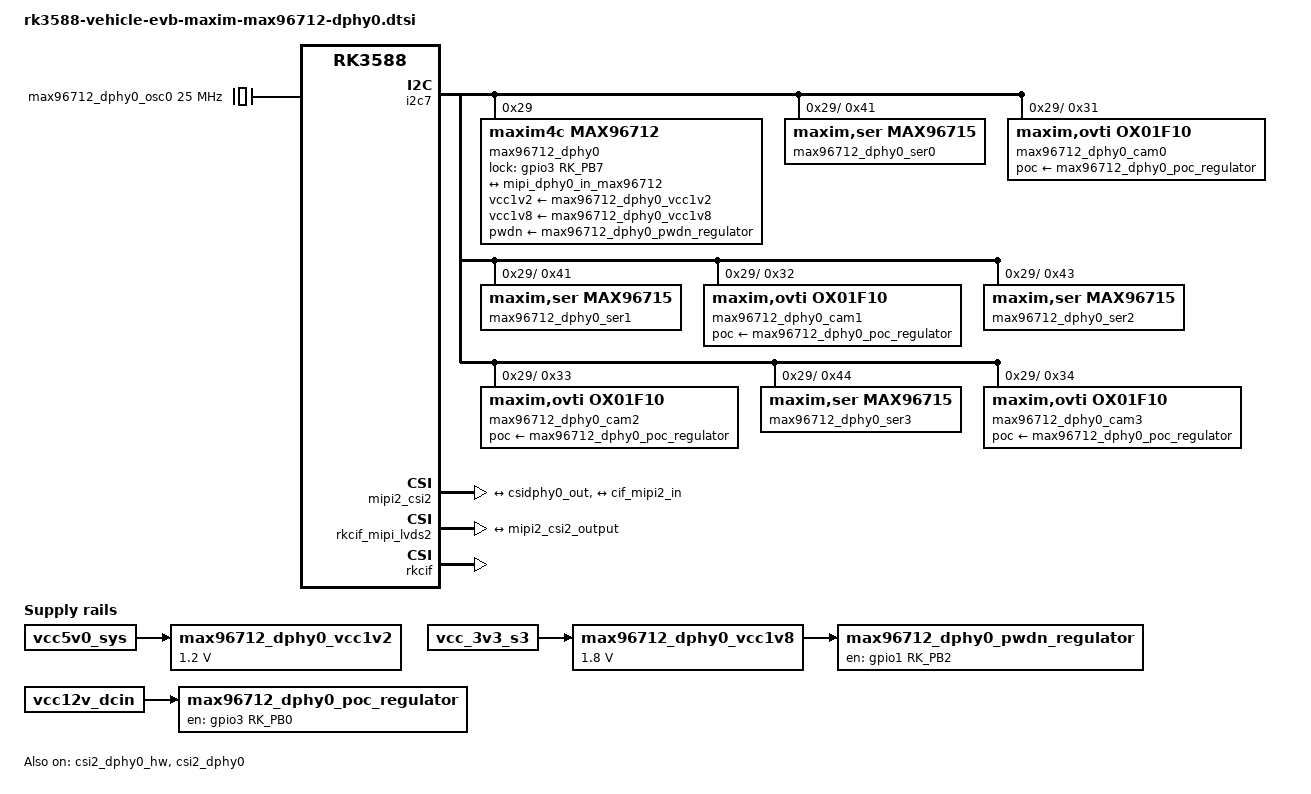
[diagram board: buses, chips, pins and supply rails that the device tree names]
// SPDX-License-Identifier: (GPL-2.0+ OR MIT)
/*
 * Copyright (c) 2023 Rockchip Electronics Co., Ltd.
 *
 */
#include <dt-bindings/display/media-bus-format.h>

/ {
	max96712_dphy0_osc0: max96712-dphy0-oscillator@0 {
		compatible = "fixed-clock";
		#clock-cells = <1>;
		clock-frequency = <25000000>;
		clock-output-names = "max96712-dphy0-osc0";
	};

	max96712_dphy0_vcc1v2: max96712-dphy0-vcc1v2 {
		compatible = "regulator-fixed";
		regulator-name = "max96712_dphy0_vcc1v2";
		regulator-boot-on;
		regulator-always-on;
		regulator-min-microvolt = <1200000>;
		regulator-max-microvolt = <1200000>;
		startup-delay-us = <850>;
		vin-supply = <&vcc5v0_sys>;
	};

	max96712_dphy0_vcc1v8: max96712-dphy0-vcc1v8 {
		compatible = "regulator-fixed";
		regulator-name = "max96712_dphy0_vcc1v8";
		regulator-boot-on;
		regulator-always-on;
		regulator-min-microvolt = <1800000>;
		regulator-max-microvolt = <1800000>;
		startup-delay-us = <200>;
		vin-supply = <&vcc_3v3_s3>;
	};

	max96712_dphy0_pwdn_regulator: max96712-dphy0-pwdn-regulator {
		compatible = "regulator-fixed";
		regulator-name = "max96712_dphy0_pwdn";
		gpio = <&gpio1 RK_PB2 GPIO_ACTIVE_HIGH>;
		pinctrl-names = "default";
		pinctrl-0 = <&max96712_dphy0_pwdn>;
		enable-active-high;
		startup-delay-us = <10000>;
		off-on-delay-us = <5000>;
		vin-supply = <&max96712_dphy0_vcc1v8>;
	};

	max96712_dphy0_poc_regulator: max96712-dphy0-poc-regulator {
		compatible = "regulator-fixed";
		regulator-name = "max96712_dphy0_poc";
		gpio = <&gpio3 RK_PB0 GPIO_ACTIVE_HIGH>;
		enable-active-high;
		startup-delay-us = <10000>;
		off-on-delay-us = <5000>;
		vin-supply = <&vcc12v_dcin>;
	};
};

&csi2_dphy0_hw {
	status = "okay";
};

&csi2_dphy0 {
	status = "okay";

	ports {
		#address-cells = <1>;
		#size-cells = <0>;
		port@0 {
			reg = <0>;
			#address-cells = <1>;
			#size-cells = <0>;

			mipi_dphy0_in_max96712: endpoint@1 {
				reg = <1>;
				remote-endpoint = <&max96712_dphy0_out>;
				data-lanes = <1 2 3 4>;
			};
		};
		port@1 {
			reg = <1>;
			#address-cells = <1>;
			#size-cells = <0>;

			csidphy0_out: endpoint@0 {
				reg = <0>;
				remote-endpoint = <&mipi2_csi2_input>;
			};
		};
	};
};

&i2c7 {
	status = "okay";
	pinctrl-names = "default";
	pinctrl-0 = <&i2c7m3_xfer>;

	max96712_dphy0: max96712@29 {
		compatible = "maxim4c,max96712";
		status = "okay";
		reg = <0x29>;
		clock-names = "xvclk";
		clocks = <&max96712_dphy0_osc0 0>;
		pinctrl-names = "default";
		pinctrl-0 = <&max96712_dphy0_errb>, <&max96712_dphy0_lock>;
		power-domains = <&power RK3588_PD_VI>;
		rockchip,grf = <&sys_grf>;
		vcc1v2-supply = <&max96712_dphy0_vcc1v2>;
		vcc1v8-supply = <&max96712_dphy0_vcc1v8>;
		pwdn-supply = <&max96712_dphy0_pwdn_regulator>;
		lock-gpios = <&gpio3 RK_PB7 GPIO_ACTIVE_HIGH>;

		rockchip,camera-module-index = <0>;
		rockchip,camera-module-facing = "back";
		rockchip,camera-module-name = "default";
		rockchip,camera-module-lens-name = "default";

		port {
			max96712_dphy0_out: endpoint {
				remote-endpoint = <&mipi_dphy0_in_max96712>;
				data-lanes = <1 2 3 4>;
			};
		};

		/* support mode config start */
		support-mode-config {
			status = "okay";

			bus-format = <MEDIA_BUS_FMT_UYVY8_2X8>;
			sensor-width = <1280>;
			sensor-height = <800>;
			max-fps-numerator = <10000>;
			max-fps-denominator = <300000>;
			bpp = <16>;
			link-freq-idx = <20>;
		};
		/* support mode config end */

		/* serdes local device start */
		serdes-local-device {
			status = "okay";

			/* GMSL LINK config start */
			gmsl-links {
				status = "okay";

				link-vdd-ldo1-en = <1>;
				link-vdd-ldo2-en = <1>;

				// Link A: link-id = 0
				gmsl-link-config-0 {
					status = "okay";
					link-id = <0>; // Link ID: 0/1/2/3

					link-type = <0>;
					link-rx-rate = <0>;
					link-tx-rate = <0>;

					link-remote-cam = <&max96712_dphy0_cam0>; // remote camera

					link-init-sequence {
						seq-item-size = <5>; // reg-addr-len + reg-val-len * 2 + 1
						reg-addr-len = <2>; // 1: 8bits, 2: 16bits
						reg-val-len = <1>; // 1: 8bits, 2: 16bits, 3: 24bits

						// reg_addr reg_val val_mask delay
						init-sequence = [
							14 D1 03 00 00 // VGAHiGain
							14 45 00 00 00 // Disable SSC
							0B 06 ef 00 00 // HIM on
							0B 07 84 00 00 // Enable HVEN and DBL
							0B 0F 01 00 00 // Disable processing DE signals
						];
					};
				};

				// Link B: link-id = 1
				gmsl-link-config-1 {
					status = "okay";
					link-id = <1>; // Link ID: 0/1/2/3

					link-type = <0>;
					link-rx-rate = <0>;
					link-tx-rate = <0>;

					link-remote-cam = <&max96712_dphy0_cam1>; // remote camera

					link-init-sequence {
						seq-item-size = <5>; // reg-addr-len + reg-val-len * 2 + 1
						reg-addr-len = <2>; // 1: 8bits, 2: 16bits
						reg-val-len = <1>; // 1: 8bits, 2: 16bits, 3: 24bits

						// reg_addr reg_val val_mask delay
						init-sequence = [
							15 D1 03 00 00 // VGAHiGain
							15 45 00 00 00 // Disable SSC
							0C 06 ef 00 00 // HIM on
							0C 07 84 00 00 // Enable HVEN and DBL
							0C 0F 01 00 00 // Disable processing DE signals
						];
					};
				};

				// Link C: link-id = 2
				gmsl-link-config-2 {
					status = "okay";
					link-id = <2>; // Link ID: 0/1/2/3

					link-type = <0>;
					link-rx-rate = <0>;
					link-tx-rate = <0>;

					link-remote-cam = <&max96712_dphy0_cam2>; // remote camera

					link-init-sequence {
						seq-item-size = <5>; // reg-addr-len + reg-val-len * 2 + 1
						reg-addr-len = <2>; // 1: 8bits, 2: 16bits
						reg-val-len = <1>; // 1: 8bits, 2: 16bits, 3: 24bits

						// reg_addr reg_val val_mask delay
						init-sequence = [
							16 D1 03 00 00 // VGAHiGain
							16 45 00 00 00 // Disable SSC
							0D 06 ef 00 00 // HIM on
							0D 07 84 00 00 // Enable HVEN and DBL
							0D 0F 01 00 00 // Disable processing DE signals
						];
					};
				};

				// Link D: link-id = 3
				gmsl-link-config-3 {
					status = "okay";
					link-id = <3>; // Link ID: 0/1/2/3

					link-type = <0>;
					link-rx-rate = <0>;
					link-tx-rate = <0>;

					link-remote-cam = <&max96712_dphy0_cam3>; // remote camera

					link-init-sequence {
						seq-item-size = <5>; // reg-addr-len + reg-val-len * 2 + 1
						reg-addr-len = <2>; // 1: 8bits, 2: 16bits
						reg-val-len = <1>; // 1: 8bits, 2: 16bits, 3: 24bits

						// reg_addr reg_val val_mask delay
						init-sequence = [
							17 D1 03 00 00 // VGAHiGain
							17 45 00 00 00 // Disable SSC
							0E 06 ef 00 00 // HIM on
							0E 07 84 00 00 // Enable HVEN and DBL
							0E 0F 01 00 00 // Disable processing DE signals
						];
					};
				};
			};
			/* GMSL LINK config end */

			/* VIDEO PIPE config start */
			video-pipes {
				status = "okay";

				// Video Pipe 0
				video-pipe-config-0 {
					status = "okay";
					pipe-id = <0>; // Video Pipe ID: 0/1/2/3/4/5/6/7

					pipe-idx = <0>; // Video Pipe X/Y/Z/U: 0/1/2/3
					link-idx = <0>; // Link A/B/C/D: 0/1/2/3

					pipe-init-sequence {
						seq-item-size = <5>; // reg-addr-len + reg-val-len * 2 + 1
						reg-addr-len = <2>; // 1: 8bits, 2: 16bits
						reg-val-len = <1>; // 1: 8bits, 2: 16bits, 3: 24bits

						// reg_addr reg_val val_mask delay
						init-sequence = [
							// Send YUV422, FS, and FE from Video Pipe 0 to Controller 1
							09 0B 07 00 00 // Enable 0/1/2 SRC/DST Mappings
							09 2D 15 00 00 // SRC/DST 0/1/2 -> CSI2 Controller 1;
							// For the following MSB 2 bits = VC, LSB 6 bits = DT
							09 0D 1e 00 00 // SRC0 VC = 0, DT = YUV422 8bit
							09 0E 1e 00 00 // DST0 VC = 0, DT = YUV422 8bit
							09 0F 00 00 00 // SRC1 VC = 0, DT = Frame Start
							09 10 00 00 00 // DST1 VC = 0, DT = Frame Start
							09 11 01 00 00 // SRC2 VC = 0, DT = Frame End
							09 12 01 00 00 // DST2 VC = 0, DT = Frame End
						];
					};
				};

				// Video Pipe 1
				video-pipe-config-1 {
					status = "okay";
					pipe-id = <1>; // Video Pipe 1: pipe-id = 1

					pipe-idx = <0>; // Video Pipe X/Y/Z/U: 0/1/2/3
					link-idx = <1>; // Link A/B/C/D: 0/1/2/3

					pipe-init-sequence {
						seq-item-size = <5>; // reg-addr-len + reg-val-len * 2 + 1
						reg-addr-len = <2>; // 1: 8bits, 2: 16bits
						reg-val-len = <1>; // 1: 8bits, 2: 16bits, 3: 24bits

						// reg_addr reg_val val_mask delay
						init-sequence = [
							// Send YUV422, FS, and FE from Video Pipe 1 to Controller 1
							09 4B 07 00 00 // Enable 0/1/2 SRC/DST Mappings
							09 6D 15 00 00 // SRC/DST 0/1/2 -> CSI2 Controller 1;
							// For the following MSB 2 bits = VC, LSB 6 bits = DT
							09 4D 1e 00 00 // SRC0 VC = 0, DT = YUV422 8bit
							09 4E 5e 00 00 // DST0 VC = 1, DT = YUV422 8bit
							09 4F 00 00 00 // SRC1 VC = 0, DT = Frame Start
							09 50 40 00 00 // DST1 VC = 1, DT = Frame Start
							09 51 01 00 00 // SRC2 VC = 0, DT = Frame End
							09 52 41 00 00 // DST2 VC = 1, DT = Frame End
						];
					};
				};

				// Video Pipe 2
				video-pipe-config-2 {
					status = "okay";
					pipe-id = <2>; // Video Pipe ID: 0/1/2/3/4/5/6/7

					pipe-idx = <0>; // Video Pipe X/Y/Z/U: 0/1/2/3
					link-idx = <2>; // Link A/B/C/D: 0/1/2/3

					pipe-init-sequence {
						seq-item-size = <5>; // reg-addr-len + reg-val-len * 2 + 1
						reg-addr-len = <2>; // 1: 8bits, 2: 16bits
						reg-val-len = <1>; // 1: 8bits, 2: 16bits, 3: 24bits

						// reg_addr reg_val val_mask delay
						init-sequence = [
							// Send YUV422, FS, and FE from Video Pipe 2 to Controller 1
							09 8B 07 00 00 // Enable 0/1/2 SRC/DST Mappings
							09 AD 15 00 00 // SRC/DST 0/1/2 -> CSI2 Controller 1;
							// For the following MSB 2 bits = VC, LSB 6 bits = DT
							09 8D 1e 00 00 // SRC0 VC = 0, DT = YUV422 8bit
							09 8E 9e 00 00 // DST0 VC = 2, DT = YUV422 8bit
							09 8F 00 00 00 // SRC1 VC = 0, DT = Frame Start
							09 90 80 00 00 // DST1 VC = 2, DT = Frame Start
							09 91 01 00 00 // SRC2 VC = 0, DT = Frame End
							09 92 81 00 00 // DST2 VC = 2, DT = Frame End
						];
					};
				};

				// Video Pipe 3
				video-pipe-config-3 {
					status = "okay";
					pipe-id = <3>; // Video Pipe ID: 0/1/2/3/4/5/6/7

					pipe-idx = <0>; // Video Pipe X/Y/Z/U: 0/1/2/3
					link-idx = <3>; // Link A/B/C/D: 0/1/2/3

					pipe-init-sequence {
						seq-item-size = <5>; // reg-addr-len + reg-val-len * 2 + 1
						reg-addr-len = <2>; // 1: 8bits, 2: 16bits
						reg-val-len = <1>; // 1: 8bits, 2: 16bits, 3: 24bits

						// reg_addr reg_val val_mask delay
						init-sequence = [
							// Send YUV422, FS, and FE from Video Pipe 3 to Controller 1
							09 CB 07 00 00 // Enable 0/1/2 SRC/DST Mappings
							09 ED 15 00 00 // SRC/DST 0/1/2 -> CSI2 Controller 1;
							// For the following MSB 2 bits = VC, LSB 6 bits = DT
							09 CD 1e 00 00 // SRC0 VC = 0, DT = YUV422 8bit
							09 CE de 00 00 // DST0 VC = 3, DT = YUV422 8bit
							09 CF 00 00 00 // SRC1 VC = 0, DT = Frame Start
							09 D0 c0 00 00 // DST1 VC = 3, DT = Frame Start
							09 D1 01 00 00 // SRC2 VC = 0, DT = Frame End
							09 D2 c1 00 00 // DST2 VC = 3, DT = Frame End
						];
					};
				};

				// Software override for parallel mode
				parallel-mode-config {
					status = "okay";

					parallel-init-sequence {
						seq-item-size = <5>; // reg-addr-len + reg-val-len * 2 + 1
						reg-addr-len = <2>; // 1: 8bits, 2: 16bits
						reg-val-len = <1>; // 1: 8bits, 2: 16bits, 3: 24bits

						// reg_addr reg_val val_mask delay
						init-sequence = [
							// Enable software override for all pipes since GMSL1 data is parallel mode, bpp=8, dt=0x1e(yuv-8)
							04 1A f0 00 00 // pipe 0/1/2/3: Enable YUV8-/10-bit mux mode
							04 0B 40 00 00 // pipe 0 bpp=0x08: Datatypes = 0x2A, 0x10-12, 0x31-37
							04 0C 00 00 00 // pipe 0 and 1 VC software override: 0x00
							04 0D 00 00 00 // pipe 2 and 3 VC software override: 0x00
							04 0E 5e 00 00 // pipe 0 DT=0x1E: YUV422 8-bit
							04 0F 7e 00 00 // pipe 1 DT=0x1E: YUV422 8-bit
							04 10 7a 00 00 // pipe 2 DT=0x1E, pipe 3 DT=0x1E: YUV422 8-bit
							04 11 48 00 00 // pipe 1 bpp=0x08: Datatypes = 0x2A, 0x10-12, 0x31-37
							04 12 20 00 00 // pipe 2 bpp=0x08, pipe 3 bpp=0x08: Datatypes = 0x2A, 0x10-12, 0x31-37
							04 15 c0 c0 00 // pipe 0/1 enable software overide
							04 18 c0 c0 00 // pipe 2/3 enable software overide
						];
					};
				};
			};
			/* VIDEO PIPE config end */

			/* MIPI TXPHY config start */
			mipi-txphys {
				status = "okay";

				phy-mode = <0>;
				phy-force-clock-out = <1>;
				phy-force-clk0-en = <1>;
				phy-force-clk3-en = <0>;

				// MIPI TXPHY A: phy-id = 0
				mipi-txphy-config-0 {
					status = "okay";
					phy-id = <0>; // MIPI TXPHY ID: 0/1/2/3

					phy-type = <0>;
					auto-deskew = <0x80>;
					data-lane-num = <4>;
					data-lane-map = <0x4>;
					vc-ext-en = <0>;
				};

				// MIPI TXPHY B: phy-id = 1
				mipi-txphy-config-1 {
					status = "okay";
					phy-id = <1>; // MIPI TXPHY ID: 0/1/2/3

					phy-type = <0>;
					auto-deskew = <0x80>;
					data-lane-num = <4>;
					data-lane-map = <0xe>;
					vc-ext-en = <0>;
				};
			};
			/* MIPI TXPHY config end */

			/* local device extra init sequence */
			extra-init-sequence {
				status = "disabled";

				seq-item-size = <5>; // reg-addr-len + reg-val-len * 2 + 1
				reg-addr-len = <2>; // 1: 8bits, 2: 16bits
				reg-val-len = <1>; // 1: 8bits, 2: 16bits, 3: 24bits

				// reg_addr reg_val val_mask delay
				init-sequence = [
					// common init sequence such as fsync / gpio and so on
				];
			};
		};
		/* serdes local device end */

		/* i2c-mux start */
		i2c-mux {
			#address-cells = <1>;
			#size-cells = <0>;

			i2c@0 {
				#address-cells = <1>;
				#size-cells = <0>;
				reg = <0>;

				// Note: Serializer node defined before camera node
				max96712_dphy0_ser0: max96715@41 {
					compatible = "maxim,ser,max96715";
					reg = <0x41>;

					ser-i2c-addr-def = <0x40>;

					ser-init-sequence {
						seq-item-size = <4>; // reg-addr-len + reg-val-len * 2 + 1
						reg-addr-len = <1>; // 1: 8bits, 2: 16bits
						reg-val-len = <1>; // 1: 8bits, 2: 16bits, 3: 24bits

						// reg_addr reg_val val_mask delay
						init-sequence = [
							07 84 00 00
							67 c4 00 00
							0F bf 00 00
							3F 08 00 00
							40 2d 00 00
							20 10 00 00
							21 11 00 00
							22 12 00 00
							23 13 00 00
							24 14 00 00
							25 15 00 00
							26 16 00 00
							27 17 00 00
							30 00 00 00
							31 01 00 00
							32 02 00 00
							33 03 00 00
							34 04 00 00
							35 05 00 00
							36 06 00 00
							37 07 00 00
						];
					};
				};

				max96712_dphy0_cam0: ox01f10@31 {
					compatible = "maxim,ovti,ox01f10";
					reg = <0x31>;

					cam-i2c-addr-def = <0x36>;

					cam-remote-ser = <&max96712_dphy0_ser0>; // remote serializer

					poc-supply = <&max96712_dphy0_poc_regulator>;

					rockchip,camera-module-index = <0>;
					rockchip,camera-module-facing = "back";
					rockchip,camera-module-name = "default";
					rockchip,camera-module-lens-name = "default";

					/* port config start */
					port {
						max96712_dphy0_cam0_out: endpoint {
							/* remote endpoint: rkcif_mipi_lvds_sditf */
							//remote-endpoint = <&mipi_lvds_sditf_in>;
							data-lanes = <1 2 3 4>;
						};
					};
					/* port config end */
				};
			};

			i2c@1 {
				#address-cells = <1>;
				#size-cells = <0>;
				reg = <1>;

				// Note: Serializer node defined before camera node
				max96712_dphy0_ser1: max96715@41 {
					compatible = "maxim,ser,max96715";
					reg = <0x41>;

					ser-i2c-addr-def = <0x40>;

					ser-init-sequence {
						seq-item-size = <4>; // reg-addr-len + reg-val-len * 2 + 1
						reg-addr-len = <1>; // 1: 8bits, 2: 16bits
						reg-val-len = <1>; // 1: 8bits, 2: 16bits, 3: 24bits

						// reg_addr reg_val val_mask delay
						init-sequence = [
							07 84 00 00
							67 c4 00 00
							0F bf 00 00
							3F 08 00 00
							40 2d 00 00
							20 10 00 00
							21 11 00 00
							22 12 00 00
							23 13 00 00
							24 14 00 00
							25 15 00 00
							26 16 00 00
							27 17 00 00
							30 00 00 00
							31 01 00 00
							32 02 00 00
							33 03 00 00
							34 04 00 00
							35 05 00 00
							36 06 00 00
							37 07 00 00
						];
					};
				};

				max96712_dphy0_cam1: ox01f10@32 {
					compatible = "maxim,ovti,ox01f10";
					reg = <0x32>;

					cam-i2c-addr-def = <0x36>;

					cam-remote-ser = <&max96712_dphy0_ser1>; // remote serializer

					poc-supply = <&max96712_dphy0_poc_regulator>;

					rockchip,camera-module-index = <0>;
					rockchip,camera-module-facing = "back";
					rockchip,camera-module-name = "default";
					rockchip,camera-module-lens-name = "default";

					/* port config start */
					port {
						max96712_dphy0_cam1_out: endpoint {
							/* remote endpoint: rkcif_mipi_lvds_sditf_vir1 */
							//remote-endpoint = <&mipi_lvds_sditf_vir1_in>;
							data-lanes = <1 2 3 4>;
						};
					};
					/* port config end */
				};
			};

			i2c@2 {
				#address-cells = <1>;
				#size-cells = <0>;
				reg = <2>;

				// Note: Serializer node defined before camera node
				max96712_dphy0_ser2: max96715@43 {
					compatible = "maxim,ser,max96715";
					reg = <0x43>;

					ser-i2c-addr-def = <0x40>;

					ser-init-sequence {
						seq-item-size = <4>; // reg-addr-len + reg-val-len * 2 + 1
						reg-addr-len = <1>; // 1: 8bits, 2: 16bits
						reg-val-len = <1>; // 1: 8bits, 2: 16bits, 3: 24bits

						// reg_addr reg_val val_mask delay
						init-sequence = [
							07 84 00 00
							67 c4 00 00
							0F bf 00 00
							3F 08 00 00
							40 2d 00 00
							20 10 00 00
							21 11 00 00
							22 12 00 00
							23 13 00 00
							24 14 00 00
							25 15 00 00
							26 16 00 00
							27 17 00 00
							30 00 00 00
							31 01 00 00
							32 02 00 00
							33 03 00 00
							34 04 00 00
							35 05 00 00
							36 06 00 00
							37 07 00 00
						];
					};
				};

				max96712_dphy0_cam2: ox01f10@33 {
					compatible = "maxim,ovti,ox01f10";
					reg = <0x33>;

					cam-i2c-addr-def = <0x36>;

					cam-remote-ser = <&max96712_dphy0_ser2>; // remote serializer

					poc-supply = <&max96712_dphy0_poc_regulator>;

					rockchip,camera-module-index = <2>;
					rockchip,camera-module-facing = "back";
					rockchip,camera-module-name = "default";
					rockchip,camera-module-lens-name = "default";

					/* port config start */
					port {
						max96712_dphy0_cam2_out: endpoint {
							/* remote endpoint: rkcif_mipi_lvds_sditf_vir2 */
							//remote-endpoint = <&mipi_lvds_sditf_vir2_in>;
							data-lanes = <1 2 3 4>;
						};
					};
					/* port config end */
				};
			};

			i2c@3 {
				#address-cells = <1>;
				#size-cells = <0>;
				reg = <3>;

				// Note: Serializer node defined before camera node
				max96712_dphy0_ser3: max96715@44 {
					compatible = "maxim,ser,max96715";
					reg = <0x44>;

					ser-i2c-addr-def = <0x40>;

					ser-init-sequence {
						seq-item-size = <4>; // reg-addr-len + reg-val-len * 2 + 1
						reg-addr-len = <1>; // 1: 8bits, 2: 16bits
						reg-val-len = <1>; // 1: 8bits, 2: 16bits, 3: 24bits

						// reg_addr reg_val val_mask delay
						init-sequence = [
							07 84 00 00
							67 c4 00 00
							0F bf 00 00
							3F 08 00 00
							40 2d 00 00
							20 10 00 00
							21 11 00 00
							22 12 00 00
							23 13 00 00
							24 14 00 00
							25 15 00 00
							26 16 00 00
							27 17 00 00
							30 00 00 00
							31 01 00 00
							32 02 00 00
							33 03 00 00
							34 04 00 00
							35 05 00 00
							36 06 00 00
							37 07 00 00
						];
					};
				};

				max96712_dphy0_cam3: ox01f10@34 {
					compatible = "maxim,ovti,ox01f10";
					reg = <0x34>;

					cam-i2c-addr-def = <0x36>;

					cam-remote-ser = <&max96712_dphy0_ser3>; // remote serializer

					poc-supply = <&max96712_dphy0_poc_regulator>;

					rockchip,camera-module-index = <3>;
					rockchip,camera-module-facing = "back";
					rockchip,camera-module-name = "default";
					rockchip,camera-module-lens-name = "default";

					/* port config start */
					port {
						max96712_dphy0_cam3_out: endpoint {
							/* remote endpoint: rkcif_mipi_lvds_sditf_vir3 */
							//remote-endpoint = <&mipi_lvds_sditf_vir3_in>;
							data-lanes = <1 2 3 4>;
						};
					};
					/* port config end */
				};
			};
		};
		/* i2c-mux end */
	};
};

&mipi2_csi2 {
	status = "okay";

	ports {
		#address-cells = <1>;
		#size-cells = <0>;

		port@0 {
			reg = <0>;
			#address-cells = <1>;
			#size-cells = <0>;

			mipi2_csi2_input: endpoint@1 {
				reg = <1>;
				remote-endpoint = <&csidphy0_out>;
			};
		};

		port@1 {
			reg = <1>;
			#address-cells = <1>;
			#size-cells = <0>;

			mipi2_csi2_output: endpoint@0 {
				reg = <0>;
				remote-endpoint = <&cif_mipi2_in>;
			};
		};
	};
};

&rkcif_mipi_lvds2 {
	status = "okay";
	/* parameters for do cif reset detecting:
	 * index0: monitor mode,
		   0 for idle,
		   1 for continue,
		   2 for trigger,
		   3 for hotplug (for nextchip)
	 * index1: the frame id to start timer,
		   min is 2
	 * index2: frame num of monitoring cycle
	 * index3: err time for keep monitoring
		   after finding out err (ms)
	 * index4: csi2 err reference val for resetting
	 */
	rockchip,cif-monitor = <3 2 1 1000 5>;

	port {
		cif_mipi2_in: endpoint {
			remote-endpoint = <&mipi2_csi2_output>;
		};
	};
};

&rkcif {
	status = "okay";
	rockchip,android-usb-camerahal-enable;
};

&rkcif_mmu {
	status = "okay";
};

&pinctrl {
	max96712-dphy0 {
		max96712_dphy0_pwdn: max96712-dphy0-pwdn {
			rockchip,pins = <1 RK_PB2 RK_FUNC_GPIO &pcfg_output_low>;
		};

		max96712_dphy0_errb: max96712-dphy0-errb {
			rockchip,pins = <3 RK_PD1 RK_FUNC_GPIO &pcfg_pull_none_smt>;
		};

		max96712_dphy0_lock: max96712-dphy0-lock {
			rockchip,pins = <3 RK_PB7 RK_FUNC_GPIO &pcfg_pull_none_smt>;
		};
	};
};
